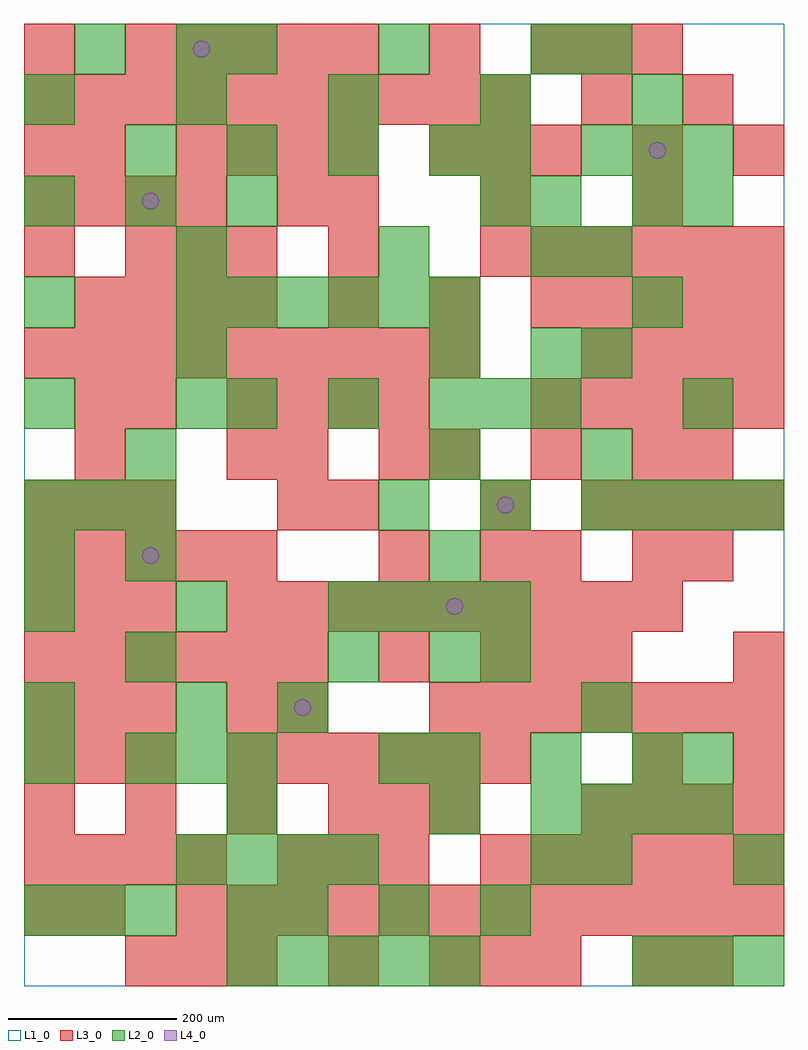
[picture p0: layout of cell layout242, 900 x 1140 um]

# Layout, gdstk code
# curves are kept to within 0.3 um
import gdstk
lib = gdstk.Library(unit=1e-6, precision=1e-09)
def R(c, l, rs):  # rectangles x0, y0, x1, y1
    for r in rs: c.add(gdstk.rectangle(r[:2], r[2:], *l))
def A(c, l, x, y, w, h, nx, ny, dx, dy):  # array of equal rectangles
    R(c, l, [(x+i*dx, y+j*dy, x+i*dx+w, y+j*dy+h) for i in range(nx) for j in range(ny)])
def P(c, l, *ps):  # polygons
    for p in ps: c.add(gdstk.Polygon(p, *l))
L1_0 = (1, 0)
L2_0 = (2, 0)
L3_0 = (3, 0)
L4_0 = (4, 0)

layout242 = lib.new_cell('layout242')
R(layout242, L1_0, [(0,0,900,1140)])
A(layout242, L2_0, 240, 0, 60, 60, 5, 1, 60, 0)
A(layout242, L2_0, 720, 0, 60, 60, 3, 2, 60, 540)
A(layout242, L2_0, 0, 60, 60, 60, 3, 2, 60, 480)
A(layout242, L2_0, 300, 60, 60, 60, 3, 1, 120, 0)
A(layout242, L2_0, 180, 120, 60, 60, 4, 1, 60, 0)
A(layout242, L2_0, 600, 180, 60, 60, 4, 1, 60, 0)
A(layout242, L2_0, 120, 240, 60, 60, 3, 1, 60, 0)
A(layout242, L2_0, 480, 240, 60, 60, 3, 1, 120, 0)
A(layout242, L2_0, 0, 300, 60, 60, 1, 3, 0, 180)
A(layout242, L2_0, 120, 360, 60, 60, 1, 3, 0, 120)
A(layout242, L2_0, 480, 360, 60, 60, 1, 4, 0, 120)
A(layout242, L2_0, 0, 420, 60, 60, 3, 1, 180, 0)
A(layout242, L2_0, 420, 420, 60, 60, 3, 1, 60, 0)
A(layout242, L2_0, 420, 540, 60, 60, 3, 1, 120, 0)
A(layout242, L2_0, 660, 600, 60, 60, 1, 3, 0, 120)
A(layout242, L2_0, 240, 660, 60, 60, 3, 1, 120, 0)
A(layout242, L2_0, 180, 780, 60, 60, 6, 1, 60, 0)
A(layout242, L2_0, 0, 900, 60, 60, 3, 1, 120, 0)
A(layout242, L2_0, 120, 960, 60, 60, 4, 1, 120, 0)
A(layout242, L2_0, 660, 960, 60, 60, 3, 1, 60, 0)
A(layout242, L2_0, 0, 1020, 60, 60, 5, 1, 180, 0)
A(layout242, L2_0, 240, 1080, 60, 60, 3, 1, 180, 0)
R(layout242, L2_0, [(240,60,300,120), (600,120,660,180), (660,120,720,180), (840,120,900,180), (240,180,300,240), (480,180,540,240), (0,240,60,300), (420,240,480,300), (780,240,840,300), (180,300,240,360), (300,300,360,360), (660,300,720,360), (360,360,420,420), (540,360,600,420), (180,660,240,720), (540,660,600,720), (600,660,660,720), (780,660,840,720), (180,720,240,780), (600,720,660,780), (0,780,60,840), (720,780,780,840), (180,840,240,900), (420,840,480,900), (600,840,660,900), (540,900,600,960), (600,900,660,960), (720,900,780,960), (780,900,840,960), (540,960,600,1020), (60,1080,120,1140), (180,1080,240,1140), (660,1080,720,1140)])
A(layout242, L3_0, 120, 0, 60, 60, 3, 2, 60, 840)
A(layout242, L3_0, 480, 0, 60, 60, 3, 2, 60, 960)
A(layout242, L3_0, 720, 0, 60, 60, 1, 3, 0, 240)
A(layout242, L3_0, 180, 60, 60, 60, 12, 1, 60, 0)
A(layout242, L3_0, 0, 120, 60, 60, 4, 2, 60, 780)
A(layout242, L3_0, 300, 120, 60, 60, 3, 1, 60, 0)
A(layout242, L3_0, 540, 120, 60, 60, 6, 2, 60, 720)
A(layout242, L3_0, 0, 180, 60, 60, 4, 1, 120, 0)
A(layout242, L3_0, 660, 180, 60, 60, 4, 2, 60, 360)
A(layout242, L3_0, 0, 240, 60, 60, 3, 2, 60, 60)
A(layout242, L3_0, 240, 240, 60, 60, 6, 1, 60, 0)
A(layout242, L3_0, 480, 300, 60, 60, 7, 1, 60, 0)
A(layout242, L3_0, 0, 360, 60, 60, 6, 1, 60, 0)
A(layout242, L3_0, 420, 360, 60, 60, 1, 3, 0, 120)
A(layout242, L3_0, 540, 360, 60, 60, 3, 1, 60, 0)
A(layout242, L3_0, 0, 420, 60, 60, 3, 2, 60, 120)
A(layout242, L3_0, 240, 420, 60, 60, 9, 1, 60, 0)
A(layout242, L3_0, 0, 480, 60, 60, 5, 1, 60, 0)
A(layout242, L3_0, 480, 600, 60, 60, 3, 1, 120, 0)
A(layout242, L3_0, 240, 660, 60, 60, 4, 1, 60, 0)
A(layout242, L3_0, 600, 660, 60, 60, 5, 1, 60, 0)
A(layout242, L3_0, 0, 720, 60, 60, 9, 1, 60, 0)
A(layout242, L3_0, 660, 720, 60, 60, 4, 2, 60, 60)
A(layout242, L3_0, 60, 780, 60, 60, 4, 1, 60, 0)
A(layout242, L3_0, 360, 780, 60, 60, 3, 1, 120, 0)
A(layout242, L3_0, 0, 840, 60, 60, 1, 3, 0, 120)
A(layout242, L3_0, 360, 900, 60, 60, 3, 1, 180, 0)
A(layout242, L3_0, 180, 960, 60, 60, 4, 1, 60, 0)
A(layout242, L3_0, 0, 1020, 60, 60, 10, 1, 60, 0)
A(layout242, L3_0, 120, 1080, 60, 60, 5, 1, 60, 0)
A(layout242, L3_0, 600, 1080, 60, 60, 3, 1, 60, 0)
R(layout242, L3_0, [(360,0,420,60), (780,0,840,60), (0,60,60,120), (60,60,120,120), (420,180,480,240), (480,180,540,240), (840,240,900,300), (240,300,300,360), (300,300,360,360), (840,360,900,420), (540,480,600,540), (600,480,660,540), (780,480,840,540), (300,540,360,600), (360,540,420,600), (540,540,600,600), (60,600,120,660), (240,600,300,660), (300,600,360,660), (780,600,840,660), (60,660,120,720), (120,660,180,720), (360,840,420,900), (300,900,360,960), (60,960,120,1020), (720,960,780,1020), (840,960,900,1020), (660,1020,720,1080), (780,1020,840,1080), (480,1080,540,1140)])
P(layout242, L4_0, [(160,510),(159.239,513.827),(157.071,517.071),(153.827,519.239),(150,520),(146.173,519.239),(142.929,517.071),(140.761,513.827),(140,510),(140.761,506.173),(142.929,502.929),(146.173,500.761),(150,500),(153.827,500.761),(157.071,502.929),(159.239,506.173)],
  [(160,930),(159.239,933.827),(157.071,937.071),(153.827,939.239),(150,940),(146.173,939.239),(142.929,937.071),(140.761,933.827),(140,930),(140.761,926.173),(142.929,922.929),(146.173,920.761),(150,920),(153.827,920.761),(157.071,922.929),(159.239,926.173)],
  [(220,1110),(219.239,1113.827),(217.071,1117.071),(213.827,1119.239),(210,1120),(206.173,1119.239),(202.929,1117.071),(200.761,1113.827),(200,1110),(200.761,1106.173),(202.929,1102.929),(206.173,1100.761),(210,1100),(213.827,1100.761),(217.071,1102.929),(219.239,1106.173)],
  [(340,330),(339.239,333.827),(337.071,337.071),(333.827,339.239),(330,340),(326.173,339.239),(322.929,337.071),(320.761,333.827),(320,330),(320.761,326.173),(322.929,322.929),(326.173,320.761),(330,320),(333.827,320.761),(337.071,322.929),(339.239,326.173)],
  [(520,450),(519.239,453.827),(517.071,457.071),(513.827,459.239),(510,460),(506.173,459.239),(502.929,457.071),(500.761,453.827),(500,450),(500.761,446.173),(502.929,442.929),(506.173,440.761),(510,440),(513.827,440.761),(517.071,442.929),(519.239,446.173)],
  [(580,570),(579.239,573.827),(577.071,577.071),(573.827,579.239),(570,580),(566.173,579.239),(562.929,577.071),(560.761,573.827),(560,570),(560.761,566.173),(562.929,562.929),(566.173,560.761),(570,560),(573.827,560.761),(577.071,562.929),(579.239,566.173)],
  [(760,990),(759.239,993.827),(757.071,997.071),(753.827,999.239),(750,1000),(746.173,999.239),(742.929,997.071),(740.761,993.827),(740,990),(740.761,986.173),(742.929,982.929),(746.173,980.761),(750,980),(753.827,980.761),(757.071,982.929),(759.239,986.173)])

lib.write_gds('layout242.gds')
